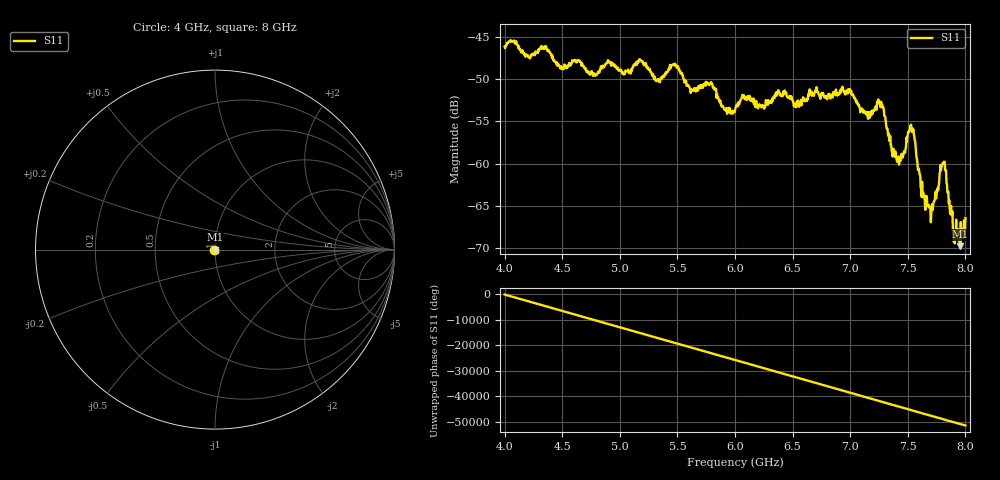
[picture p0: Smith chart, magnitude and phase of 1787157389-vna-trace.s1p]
! Created with skrf 1.10.0 (http://scikit-rf.org).
# Hz S RI R 50.0
!freq ReS11 ImS11
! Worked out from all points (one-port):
!   1001 points, 4 GHz to 8 GHz, reference 50 ohm
!   lowest |S11| = -69.8 dB at 7.956 GHz (marker M1), VSWR 1.00, Z = 50 + j0.0215 ohm
!   |S11| at or under -10 dB: start of sweep to end of sweep
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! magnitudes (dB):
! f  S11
! 4 GHz  -46.1
! 4.084 GHz  -45.6
! 4.212 GHz  -47.4
! 4.348 GHz  -46.4
! 4.5 GHz  -48.7
! 5 GHz  -48.9
! 5.18 GHz  -47.7
! 5.328 GHz  -50.0
! 5.5 GHz  -48.6
! 5.624 GHz  -51.3
! 5.784 GHz  -50.5
! 5.912 GHz  -53.6
! 6 GHz  -53.7
! 6.076 GHz  -51.9
! 6.5 GHz  -52.6
! 7 GHz  -51.3
! 7.156 GHz  -54.7
! 7.264 GHz  -53.3
! 7.368 GHz  -59.2
! 7.42 GHz  -59.2
! 7.5 GHz  -56.6
! 7.544 GHz  -56.2
! 7.632 GHz  -63.4
! 7.688 GHz  -65.3
! 7.812 GHz  -59.8
! 7.896 GHz  -68.1
! 7.956 GHz  -69.8
! 8 GHz  -66.5
